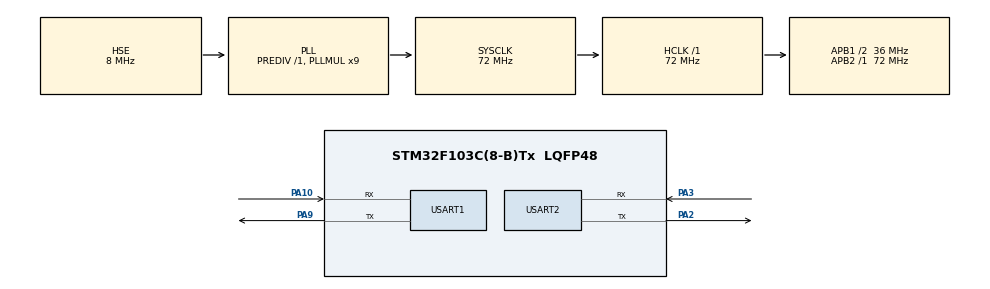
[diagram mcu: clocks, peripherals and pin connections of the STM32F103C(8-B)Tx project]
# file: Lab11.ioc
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Mcu.Family=STM32F1
Mcu.Name=STM32F103C(8-B)Tx
Mcu.Package=LQFP48
NVIC.PriorityGroup=NVIC_PRIORITYGROUP_4
PA10.Mode=Asynchronous
PA10.Signal=USART1_RX
PA2.Mode=Asynchronous
PA2.Signal=USART2_TX
PA3.Mode=Asynchronous
PA3.Signal=USART2_RX
PA9.Mode=Asynchronous
PA9.Signal=USART1_TX
PD0-OSC_IN.Mode=HSE-External-Oscillator
PD0-OSC_IN.Signal=RCC_OSC_IN
PD1-OSC_OUT.Mode=HSE-External-Oscillator
PD1-OSC_OUT.Signal=RCC_OSC_OUT
ProjectManager.HeapSize=0x200
ProjectManager.StackSize=0x400
ProjectManager.TargetToolchain=MDK-ARM V5.32
RCC.AHBFreq_Value=72000000
RCC.APB1CLKDivider=RCC_HCLK_DIV2
RCC.APB1Freq_Value=36000000
RCC.APB1TimFreq_Value=72000000
RCC.APB2Freq_Value=72000000
RCC.APB2TimFreq_Value=72000000
RCC.HCLKFreq_Value=72000000
RCC.PLLMUL=RCC_PLL_MUL9
RCC.PLLSourceVirtual=RCC_PLLSOURCE_HSE
RCC.SYSCLKFreq_VALUE=72000000
RCC.SYSCLKSource=RCC_SYSCLKSOURCE_PLLCLK
RCC.USBFreq_Value=72000000
USART1.VirtualMode=VM_ASYNC
USART2.VirtualMode=VM_ASYNC
VP_SYS_VS_ND.Mode=No_Debug
board=custom

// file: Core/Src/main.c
/* USER CODE BEGIN Header */
/**
  ******************************************************************************
  * @file           : main.c
  * @brief          : Main program body
  ******************************************************************************
  * @attention
  *
  * Copyright (c) 2026 STMicroelectronics.
  * All rights reserved.
  *
  * This software is licensed under terms that can be found in the LICENSE file
  * in the root directory of this software component.
  * If no LICENSE file comes with this software, it is provided AS-IS.
  *
  ******************************************************************************
  */
/* USER CODE END Header */
#include "main.h"

/* USER CODE BEGIN Includes */
#include <string.h>
#include <stdio.h>
/* USER CODE END Includes */

/* USER CODE BEGIN PD */
/* The fixed message shown in Chrome - change this text if you like */
#define WEB_MESSAGE "Hello from Gracia and chinmayi!"
/* USER CODE END PD */

UART_HandleTypeDef huart1;
UART_HandleTypeDef huart2;

/* USER CODE BEGIN PV */
char req[1024];     /* data received from the ESP8266 */
char page[512];     /* HTTP reply sent to Chrome      */
char cmd[40];       /* AT command buffer              */
uint16_t n;
/* USER CODE END PV */

void SystemClock_Config(void);
static void MX_GPIO_Init(void);
static void MX_USART1_UART_Init(void);
static void MX_USART2_UART_Init(void);

int main(void)
{

  /* MCU Configuration--------------------------------------------------------*/

  /* Reset of all peripherals, Initializes the Flash interface and the Systick. */
  HAL_Init();

  /* Configure the system clock */
  SystemClock_Config();

  /* Initialize all configured peripherals */
  MX_GPIO_Init();
  MX_USART1_UART_Init();
  MX_USART2_UART_Init();
  /* USER CODE BEGIN 2 */

  uint8_t buf[512];
  uint16_t len;

  /* 2. AT */
  char cmd1[] = "AT\r\n";
  len = 0;
  HAL_UART_Transmit(&huart1, (uint8_t *)cmd1, strlen(cmd1), HAL_MAX_DELAY);
  while (len < sizeof(buf) && HAL_UART_Receive(&huart1, &buf[len], 1, 100) == HAL_OK)
  {
    len++;
  }
  HAL_UART_Transmit(&huart2, buf, len, HAL_MAX_DELAY);
  HAL_Delay(500);

  /* 3. Station mode */
  char cmd2[] = "AT+CWMODE=1\r\n";
  len = 0;
  HAL_UART_Transmit(&huart1, (uint8_t *)cmd2, strlen(cmd2), HAL_MAX_DELAY);
  while (len < sizeof(buf) && HAL_UART_Receive(&huart1, &buf[len], 1, 100) == HAL_OK)
  {
    len++;
  }
  HAL_UART_Transmit(&huart2, buf, len, HAL_MAX_DELAY);
  HAL_Delay(500);

  /* 4. DHCP */
  char cmd5[] = "AT+CWDHCP=1,1\r\n";
  len = 0;
  HAL_UART_Transmit(&huart1, (uint8_t *)cmd5, strlen(cmd5), HAL_MAX_DELAY);
  while (len < sizeof(buf) && HAL_UART_Receive(&huart1, &buf[len], 1, 100) == HAL_OK)
  {
    len++;
  }
  HAL_UART_Transmit(&huart2, buf, len, HAL_MAX_DELAY);
  HAL_Delay(500);

  /* 5. Join Wi-Fi (slow, so 5 s gap allowed) */
  char cmd3[] = "AT+CWJAP=\"SNUC\",\"snu12345\"\r\n";
  len = 0;
  HAL_UART_Transmit(&huart1, (uint8_t *)cmd3, strlen(cmd3), HAL_MAX_DELAY);
  while (len < sizeof(buf) && HAL_UART_Receive(&huart1, &buf[len], 1, 5000) == HAL_OK)
  {
    len++;
  }
  HAL_UART_Transmit(&huart2, buf, len, HAL_MAX_DELAY);
  HAL_Delay(500);

  /* 6. Get IP */
  char cmd4[] = "AT+CIFSR\r\n";
  len = 0;
  HAL_UART_Transmit(&huart1, (uint8_t *)cmd4, strlen(cmd4), HAL_MAX_DELAY);
  while (len < sizeof(buf) && HAL_UART_Receive(&huart1, &buf[len], 1, 100) == HAL_OK)
  {
    len++;
  }
  HAL_UART_Transmit(&huart2, buf, len, HAL_MAX_DELAY);
  HAL_Delay(500);

  /* 7. Multiple connections */
  char cmd6[] = "AT+CIPMUX=1\r\n";
  len = 0;
  HAL_UART_Transmit(&huart1, (uint8_t *)cmd6, strlen(cmd6), HAL_MAX_DELAY);
  while (len < sizeof(buf) && HAL_UART_Receive(&huart1, &buf[len], 1, 100) == HAL_OK)
  {
    len++;
  }
  HAL_UART_Transmit(&huart2, buf, len, HAL_MAX_DELAY);
  HAL_Delay(500);

  /* 8. Start server on port 80 */
  char cmd7[] = "AT+CIPSERVER=1,80\r\n";
  len = 0;
  HAL_UART_Transmit(&huart1, (uint8_t *)cmd7, strlen(cmd7), HAL_MAX_DELAY);
  while (len < sizeof(buf) && HAL_UART_Receive(&huart1, &buf[len], 1, 100) == HAL_OK)
  {
    len++;
  }
  HAL_UART_Transmit(&huart2, buf, len, HAL_MAX_DELAY);
  HAL_Delay(500);

  /* Build the fixed web page once - it never changes */
  sprintf(page,
          "HTTP/1.1 200 OK\r\n"
          "Content-Type: text/html\r\n"
          "Connection: close\r\n"
          "\r\n"
          "<html><body><h1>%s</h1></body></html>", WEB_MESSAGE);

  char ready[] = "\r\n>>> Server ready. Open the IP address in Chrome.\r\n";
  HAL_UART_Transmit(&huart2, (uint8_t *)ready, strlen(ready), HAL_MAX_DELAY);

  /* USER CODE END 2 */

  /* Infinite loop */
  while (1)
  {

    /* USER CODE BEGIN 3 */

    /* ---------- 1. Wait for Chrome's request (+IPD) ---------- */
    HAL_UART_Receive(&huart1, (uint8_t *)&req[0], 1, HAL_MAX_DELAY); /* wait for first byte */
    n = 1;
    while (n < sizeof(req) - 1 && HAL_UART_Receive(&huart1, (uint8_t *)&req[n], 1, 200) == HAL_OK)
    {
      n++;
    }
    req[n] = '\0';
    HAL_UART_Transmit(&huart2, (uint8_t *)req, n, HAL_MAX_DELAY);    /* show request on PC */

    char *ipd = strstr(req, "+IPD,");
    if (ipd == NULL)
    {
      continue;                 /* not a request (e.g. "0,CONNECT" or "0,CLOSED") */
    }
    char id = ipd[5];           /* link ID: '0', '1', ... */

    /* Chrome also asks for /favicon.ico - just close that one */
    if (strstr(req, "favicon") != NULL)
    {
      sprintf(cmd, "AT+CIPCLOSE=%c\r\n", id);
      HAL_UART_Transmit(&huart1, (uint8_t *)cmd, strlen(cmd), HAL_MAX_DELAY);
      n = 0;
      while (n < sizeof(req) - 1 && HAL_UART_Receive(&huart1, (uint8_t *)&req[n], 1, 500) == HAL_OK)
      {
        n++;
      }
      continue;
    }

    /* ---------- 2. AT+CIPSEND=id,length -> wait for '>' ---------- */
    sprintf(cmd, "AT+CIPSEND=%c,%d\r\n", id, (int)strlen(page));
    HAL_UART_Transmit(&huart1, (uint8_t *)cmd, strlen(cmd), HAL_MAX_DELAY);
    n = 0;
    while (n < sizeof(req) - 1 && HAL_UART_Receive(&huart1, (uint8_t *)&req[n], 1, 500) == HAL_OK)
    {
      n++;
    }
    HAL_UART_Transmit(&huart2, (uint8_t *)req, n, HAL_MAX_DELAY);    /* shows "OK" and ">" */

    /* ---------- 3. Send the fixed page -> wait for SEND OK ---------- */
    HAL_UART_Transmit(&huart1, (uint8_t *)page, strlen(page), HAL_MAX_DELAY);
    n = 0;
    while (n < sizeof(req) - 1 && HAL_UART_Receive(&huart1, (uint8_t *)&req[n], 1, 1000) == HAL_OK)
    {
      n++;
    }
    HAL_UART_Transmit(&huart2, (uint8_t *)req, n, HAL_MAX_DELAY);    /* shows "SEND OK" */

    /* ---------- 4. Close the connection so Chrome shows the page ---------- */
    sprintf(cmd, "AT+CIPCLOSE=%c\r\n", id);
    HAL_UART_Transmit(&huart1, (uint8_t *)cmd, strlen(cmd), HAL_MAX_DELAY);
    n = 0;
    while (n < sizeof(req) - 1 && HAL_UART_Receive(&huart1, (uint8_t *)&req[n], 1, 500) == HAL_OK)
    {
      n++;
    }
    HAL_UART_Transmit(&huart2, (uint8_t *)req, n, HAL_MAX_DELAY);    /* shows "0,CLOSED" */
  }
  /* USER CODE END 3 */
}

void SystemClock_Config(void)
{
  RCC_OscInitTypeDef RCC_OscInitStruct = {0};
  RCC_ClkInitTypeDef RCC_ClkInitStruct = {0};

  /** Initializes the RCC Oscillators according to the specified parameters
  * in the RCC_OscInitTypeDef structure.
  */
  RCC_OscInitStruct.OscillatorType = RCC_OSCILLATORTYPE_HSE;
  RCC_OscInitStruct.HSEState = RCC_HSE_ON;
  RCC_OscInitStruct.HSEPredivValue = RCC_HSE_PREDIV_DIV1;
  RCC_OscInitStruct.HSIState = RCC_HSI_ON;
  RCC_OscInitStruct.PLL.PLLState = RCC_PLL_ON;
  RCC_OscInitStruct.PLL.PLLSource = RCC_PLLSOURCE_HSE;
  RCC_OscInitStruct.PLL.PLLMUL = RCC_PLL_MUL9;
  if (HAL_RCC_OscConfig(&RCC_OscInitStruct) != HAL_OK)
  {
    Error_Handler();
  }

  /** Initializes the CPU, AHB and APB buses clocks
  */
  RCC_ClkInitStruct.ClockType = RCC_CLOCKTYPE_HCLK|RCC_CLOCKTYPE_SYSCLK
                              |RCC_CLOCKTYPE_PCLK1|RCC_CLOCKTYPE_PCLK2;
  RCC_ClkInitStruct.SYSCLKSource = RCC_SYSCLKSOURCE_PLLCLK;
  RCC_ClkInitStruct.AHBCLKDivider = RCC_SYSCLK_DIV1;
  RCC_ClkInitStruct.APB1CLKDivider = RCC_HCLK_DIV2;
  RCC_ClkInitStruct.APB2CLKDivider = RCC_HCLK_DIV1;

  if (HAL_RCC_ClockConfig(&RCC_ClkInitStruct, FLASH_LATENCY_2) != HAL_OK)
  {
    Error_Handler();
  }
}

static void MX_USART1_UART_Init(void)
{

  huart1.Instance = USART1;
  huart1.Init.BaudRate = 115200;
  huart1.Init.WordLength = UART_WORDLENGTH_8B;
  huart1.Init.StopBits = UART_STOPBITS_1;
  huart1.Init.Parity = UART_PARITY_NONE;
  huart1.Init.Mode = UART_MODE_TX_RX;
  huart1.Init.HwFlowCtl = UART_HWCONTROL_NONE;
  huart1.Init.OverSampling = UART_OVERSAMPLING_16;
  if (HAL_UART_Init(&huart1) != HAL_OK)
  {
    Error_Handler();
  }

}

static void MX_USART2_UART_Init(void)
{

  huart2.Instance = USART2;
  huart2.Init.BaudRate = 115200;
  huart2.Init.WordLength = UART_WORDLENGTH_8B;
  huart2.Init.StopBits = UART_STOPBITS_1;
  huart2.Init.Parity = UART_PARITY_NONE;
  huart2.Init.Mode = UART_MODE_TX_RX;
  huart2.Init.HwFlowCtl = UART_HWCONTROL_NONE;
  huart2.Init.OverSampling = UART_OVERSAMPLING_16;
  if (HAL_UART_Init(&huart2) != HAL_OK)
  {
    Error_Handler();
  }

}

static void MX_GPIO_Init(void)
{

  /* GPIO Ports Clock Enable */
  __HAL_RCC_GPIOD_CLK_ENABLE();
  __HAL_RCC_GPIOA_CLK_ENABLE();

}

void Error_Handler(void)
{
  __disable_irq();
  while (1)
  {
  }
}
